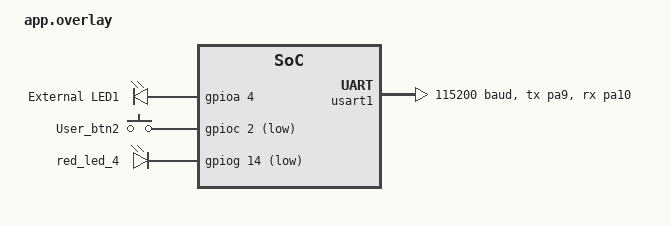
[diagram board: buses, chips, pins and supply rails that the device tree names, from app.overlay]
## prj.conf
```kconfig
# CONFIG_STM32_BOARD=y
# CONFIG_STM32_PICSIMLAB=n

CONFIG_GPIO=y

# Debug Configuration
CONFIG_DEBUG=y
CONFIG_DEBUG_OPTIMIZATIONS=y
CONFIG_SYMTAB=y

# Console for debug output
CONFIG_CONSOLE=y
CONFIG_UART_CONSOLE=y
CONFIG_SERIAL=y
CONFIG_PRINTK=y
CONFIG_UART_INTERRUPT_DRIVEN=y

# DMA Configuration
CONFIG_DMA=y

# Optional: Enable debug thread info
CONFIG_DEBUG_THREAD_INFO=y
CONFIG_THREAD_MONITOR=y
CONFIG_THREAD_NAME=y

# Enable time slicing for threads
CONFIG_TIMESLICING=y

# Set the time slice duration (in milliseconds)
CONFIG_TIMESLICE_SIZE=10

# Time slice priority threshold
CONFIG_TIMESLICE_PRIORITY=1

# Set maximum number of preempt priorities
CONFIG_NUM_PREEMPT_PRIORITIES=127

# Set cooperative thread priorities
CONFIG_NUM_COOP_PRIORITIES=128
```

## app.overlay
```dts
&usart1 {
    status = "okay";
    pinctrl-0 = <&usart1_tx_pa9 &usart1_rx_pa10>;
    pinctrl-names = "default";
    current-speed = <115200>;
};

&red_led_4 {
    gpios = <&gpiog 14 GPIO_ACTIVE_LOW>;
};

&dma1
{
    status = "okay";
};

&dma2
{
    status = "okay";
};

/ {
    aliases {
        led1 = &red_led_4;
        led2 = &custom_led1;
        stlink-uart = &usart1;
        my-dma = &dma2;
    };

    leds {
        compatible = "gpio-leds";        

        custom_led1: custom_led1 {
            label = "External LED1";
            gpios = <&gpioa 4 0>;
        };        
    };

	gpio_keys {
		compatible = "gpio-keys";

		button2: button2{
			label = "User_btn2";
			gpios = <&gpioc 2 GPIO_ACTIVE_LOW>;
			zephyr,code = <INPUT_KEY_0>;
		};
	};    

};
```

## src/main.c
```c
#include <zephyr/kernel.h>
#include <zephyr/sys/printk.h>
#include <zephyr/drivers/dma.h>
#include <zephyr/drivers/uart.h>
#include <zephyr/devicetree.h>
#include <string.h>

#define UART_NODE DT_NODELABEL(usart1)
#define UART_BASE_ADDR DT_REG_ADDR(UART_NODE)

#define DMA_STREAM_TX    7    // USART1_TX uses Stream 7
#define DMA_STREAM_RX    5    // USART1_RX uses Stream 5
#define DMA_CHANNEL_USART1 4  // Both use Channel 4

static const struct device *uart_dev = DEVICE_DT_GET(UART_NODE);
static const struct device *dma_dev = DEVICE_DT_GET(DT_ALIAS(my_dma));

/* Separate buffers for TX and RX */
static char tx_buf[32] __aligned(32);
static char rx_buf[32] __aligned(32);

/* Separate completion flags */
static volatile bool tx_complete = false;
static volatile bool rx_complete = false;

void dma_callback(const struct device *dev, void *user_data, 
                  uint32_t channel, int status)
{
    if (status == DMA_STATUS_COMPLETE) {
        if (channel == DMA_STREAM_TX) {
            tx_complete = true;
            printk("TX DMA complete\n");
        } else if (channel == DMA_STREAM_RX) {
            rx_complete = true;
            printk("RX DMA complete\n");
        }
    } else {
        printk("DMA error on channel %u: %d\n", channel, status);
    }
}

int configure_uart_dma_both_directions(void)
{
    int ret;
    uint32_t usart1_dr = UART_BASE_ADDR + 0x04;

    /* ===== Configure TX DMA (Memory to Peripheral) ===== */
    struct dma_config tx_cfg = {0};
    struct dma_block_config tx_block = {0};

    tx_cfg.channel_direction = MEMORY_TO_PERIPHERAL;
    tx_cfg.source_data_size = 1;
    tx_cfg.dest_data_size = 1;
    tx_cfg.source_burst_length = 1;
    tx_cfg.dest_burst_length = 1;
    tx_cfg.dma_slot = DMA_CHANNEL_USART1;  // Channel 4
    tx_cfg.dma_callback = dma_callback;
    tx_cfg.user_data = (void *)"TX";
    tx_cfg.channel_priority = 0;
    tx_cfg.head_block = &tx_block;

    tx_block.block_size = sizeof(tx_buf);
    tx_block.source_address = (uint32_t)tx_buf;
    tx_block.dest_address = usart1_dr;

    ret = dma_config(dma_dev, DMA_STREAM_TX, &tx_cfg);  // Stream 7
    if (ret < 0) {
        printk("TX DMA config failed: %d\n", ret);
        return ret;
    }

    /* ===== Configure RX DMA (Peripheral to Memory) ===== */
    struct dma_config rx_cfg = {0};
    struct dma_block_config rx_block = {0};

    rx_cfg.channel_direction = PERIPHERAL_TO_MEMORY;
    rx_cfg.source_data_size = 1;
    rx_cfg.dest_data_size = 1;
    rx_cfg.source_burst_length = 1;
    rx_cfg.dest_burst_length = 1;
    rx_cfg.dma_slot = DMA_CHANNEL_USART1;  // Same Channel 4
    rx_cfg.dma_callback = dma_callback;
    rx_cfg.user_data = (void *)"RX";
    rx_cfg.channel_priority = 1;  // Higher priority for RX
    

    rx_cfg.block_count = 1;          // Single block in circular mode
    
    rx_cfg.head_block = &rx_block;

    rx_block.block_size = 2;//sizeof(rx_buf);
    rx_block.source_address = usart1_dr;
    rx_block.dest_address = (uint32_t)rx_buf;

    ret = dma_config(dma_dev, DMA_STREAM_RX, &rx_cfg);  // Stream 5
    if (ret < 0) {
        printk("RX DMA config failed: %d\n", ret);
        return ret;
    }

    printk("Both TX and RX DMA configured successfully\n");
    return 0;
}

int main(void)
{
    int ret;

    if (!device_is_ready(uart_dev)) {
        printk("UART device not ready\n");
        return 0;
    }

    uart_irq_rx_enable(uart_dev);

    if (!device_is_ready(dma_dev)) {
        printk("DMA not ready\n");
        return 0;
    }

    /* Configure both directions */
    ret = configure_uart_dma_both_directions();
    if (ret < 0) {
        return 0;
    }

    /* Start RX DMA first (always listening) */
    ret = dma_start(dma_dev, DMA_STREAM_RX);
    if (ret < 0) {
        printk("RX DMA start failed: %d\n", ret);
        return 0;
    }

    printk("Both TX and RX DMA are active!\n");

    /* Both channels can now operate simultaneously */
    while (1) {
		if(rx_complete == true)
		{
			rx_complete = false;
			/* Restart RX DMA to keep it always listening */
            int ret = dma_start(dma_dev, DMA_STREAM_RX);
            if (ret < 0) {
                printk("Failed to restart RX DMA: %d\n", ret);
            }
			ret = dma_stop(dma_dev, DMA_STREAM_TX);
			if(ret != 0 && ret != -EBUSY)
			{
				printk("TX DMA stop failed: %d\n", ret);
			}
			memcpy((void *)tx_buf, (const void *)rx_buf, sizeof(tx_buf));
			tx_complete = false;
			ret = dma_start(dma_dev, DMA_STREAM_TX);
			if (ret < 0) {
				printk("TX DMA start failed: %d\n", ret);
				return 0;
			}
		}
		else if(tx_complete == true)
		{
			tx_complete = false;
			printk("TX DMA complete\n");
		}
        k_msleep(50);
    }

    return 0;
}
```

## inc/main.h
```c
#include <zephyr/kernel.h>
#include <zephyr/sys/printk.h>
#include <zephyr/drivers/gpio.h>
#include <zephyr/drivers/uart.h>
#include <zephyr/device.h>
#include <zephyr/irq.h>

#define UART1     DT_ALIAS(stlink_uart)
#define LEDG_NODE DT_NODELABEL(green_led_3)
#define LEDR_NODE DT_NODELABEL(red_led_4)

typedef struct
{
    uint8_t data;
}UART_RX_t;

#define UART_MSGQ_SIZE      sizeof(UART_RX_t)
#define UART_MSGQ_MAX       (10)

extern struct k_msgq uart_input_msgq;
extern const struct device * uart_dev;

void uart_rx_isr(const struct device *, void *);
```
